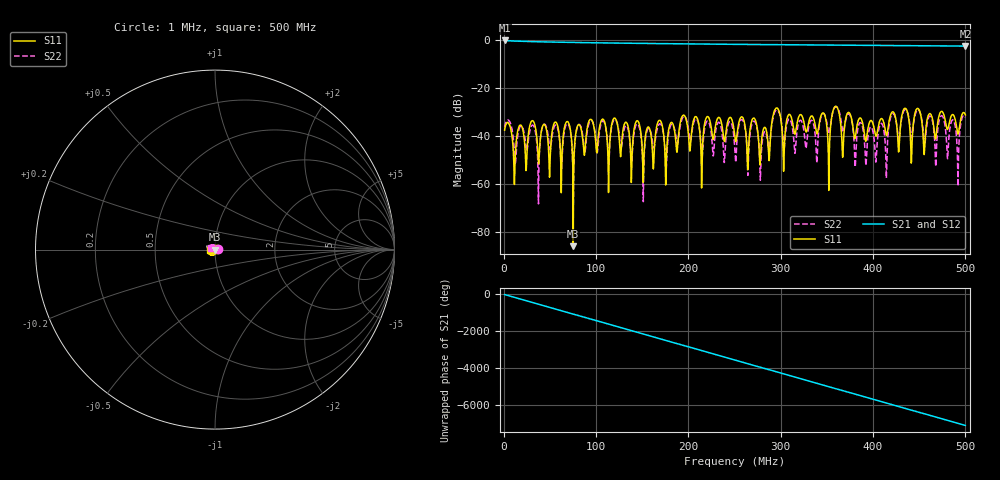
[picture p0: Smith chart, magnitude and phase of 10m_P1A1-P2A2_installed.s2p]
! MS46122B
! 1746301/73750021
! 11/1/2023 5:09:27 PM
! C:\USERS\SPEGWAL\DOWNLOADS\SAURABH\REACH\NODES\FRONT END\MEASUREMENTS\MEASURED S-PARAMETERS_01-11-2023\CABLES\10M_P1A1-P2A2_FIXED.S2P
! CHANNEL.1
! TR.MEASUREMENT
! CORRECTED.DATA
# GHZ S RI R 50.0
! FREQ.GHZ  S11RE  S11IM  S21RE  S21IM  S12RE  S12IM  S22RE  S22IM
!; PortSelection: Port_12
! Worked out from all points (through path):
!   2001 points, 1 MHz to 500 MHz, reference 50 ohm
!   highest |S21| = -0.10 dB at 1.25 MHz (marker M1); lowest = -2.4 dB at 500 MHz (marker M2)
!   group delay of S21, straight-line fit = 39.6 ns
!   lowest |S11| = -85.8 dB at 75.35 MHz (marker M3), VSWR 1.00, Z = 50 - j0.00016 ohm
!   |S11| at or under -10 dB: start of sweep to end of sweep
!   |S22| runs from -72.1 to -27.6 dB; largest |S21 - S12| = 0.0042
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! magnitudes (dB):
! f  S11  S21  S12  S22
! 1 MHz  -37.5  -0.1  -0.1  -36.2
! 1.25 MHz  -36.7  -0.1  -0.1  -35.7
! 37.68 MHz  -51.5  -0.6  -0.7  -68.2
! 69.11 MHz  -33.9  -0.9  -0.9  -34.8
! 75.35 MHz  -85.8  -0.9  -0.9  -72.1
! 84.33 MHz  -37.8  -1.0  -1.0  -37.1
! 107.5 MHz  -32.9  -1.1  -1.1  -33.6
! 113.8 MHz  -57.4  -1.1  -1.2  -52.4
! 120.3 MHz  -32.5  -1.2  -1.2  -32.9
! 138.2 MHz  -59.3  -1.3  -1.3  -51.5
! 145 MHz  -33.6  -1.3  -1.3  -34.9
! 151.2 MHz  -59.3  -1.3  -1.3  -67.2
! 167.4 MHz  -33.8  -1.4  -1.4  -35.6
! 175.7 MHz  -59.7  -1.4  -1.4  -54.6
! 195.4 MHz  -31.3  -1.5  -1.5  -31.7
! 250.5 MHz  -40.6  -1.7  -1.7  -47.0
! 333.8 MHz  -31.6  -2.0  -2.0  -33.4
! 416.9 MHz  -34.8  -2.2  -2.2  -36.6
! 448.9 MHz  -28.5  -2.3  -2.3  -29.0
! 455.3 MHz  -47.6  -2.3  -2.3  -43.1
! 492 MHz  -39.1  -2.4  -2.4  -60.8
! 500 MHz  -31.1  -2.4  -2.5  -32.1
